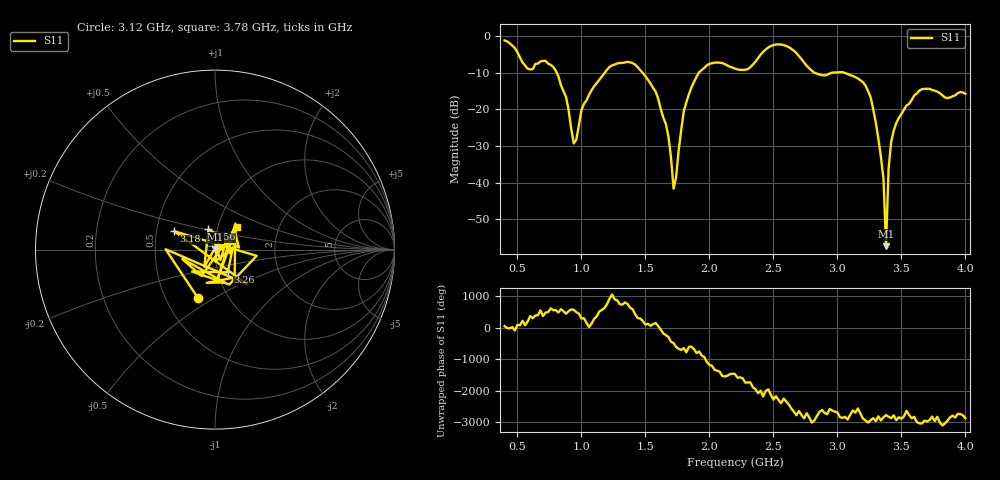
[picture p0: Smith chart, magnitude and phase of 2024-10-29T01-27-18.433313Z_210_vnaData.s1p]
!Created with skrf (http://scikit-rf.org).
# Hz S RI R 50.0
!freq ReS11 ImS11
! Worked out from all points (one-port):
!   181 points, 400 MHz to 4 GHz, reference 50 ohm
!   lowest |S11| = -57.3 dB at 3.38 GHz (marker M1), VSWR 1.00, Z = 50 + j0.132 ohm
!   |S11| at or under -10 dB: 807 MHz to 1.183 GHz (375.9 MHz wide, 37.8 % of centre); 1.478 GHz to 1.918 GHz (439.5 MHz wide, 25.9 % of centre); 3.054 GHz to end of sweep (the widest 3 of 4)
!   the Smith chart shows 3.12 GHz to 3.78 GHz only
!   S11 on the Smith chart (normalised r, x): 3.12 GHz: 0.72, -0.42; 3.18 GHz: 0.62, +0.14; 3.26 GHz: 1.11, -0.29; 3.56 GHz: 0.91, +0.21; 3.78 GHz: 1.23, +0.32
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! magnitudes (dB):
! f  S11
! 400 MHz  -1.2
! 580 MHz  -8.9
! 780 MHz  -8.4
! 860 MHz  -15.0
! 940 MHz  -29.3
! 1.08 GHz  -14.7
! 1.3 GHz  -7.3
! 1.58 GHz  -15.2
! 1.68 GHz  -27.5
! 1.72 GHz  -41.6
! 1.76 GHz  -31.2
! 1.8 GHz  -20.5
! 1.92 GHz  -9.9
! 2.2 GHz  -8.9
! 2.5 GHz  -2.5
! 2.66 GHz  -4.0
! 2.82 GHz  -10.0
! 3.1 GHz  -10.6
! 3.12 GHz  -10.9
! 3.18 GHz  -12.1
! 3.26 GHz  -16.7
! 3.36 GHz  -38.9
! 3.38 GHz  -57.3
! 3.4 GHz  -36.1
! 3.42 GHz  -28.9
! 3.56 GHz  -18.5
! 3.78 GHz  -15.2
! 4 GHz  -15.8
